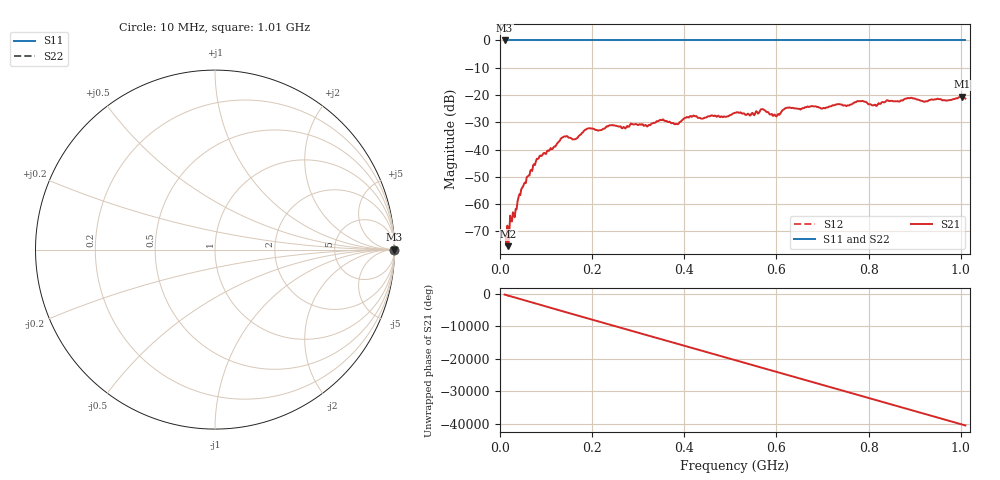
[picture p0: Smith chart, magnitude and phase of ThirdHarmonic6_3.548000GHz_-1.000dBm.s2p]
! 8/17/2025 11:42:17 AM
! C:\ANRITSUVNA\TEMP\TEMP.S2P
! CHANNEL.1
! TR.MEASUREMENT
! RAW.DATA
! RF.CORRECTION.OFF
! AVERAGING.OFF
! IF.BANDWIDTH: 5KHZ
! SWEEPTYPE:  FREQ.SWEEP(Linear)
! Reference Plane Port Info
! PORT:  PORT1  PORT2
! DISTANCE:  0  m  0  m
! TIME:  0  s  0  s
! PHASE.OFFSET:  0  deg.  0  deg.
! LOSS:  0  dB  0  dB
! REF.LOSS:  0  dB  0  dB
! REF.FREQ:  0  Hz  0  Hz
! Power Info
! POWER:  -20  dBm  -20  dBm
! EFF.POWER:  -20  dBm  -20  dBm
! SOURCE.ATTEN:  0  dB  0  dB
! TEST.ATTEN:  0  dB  0  dB
# GHZ S RI R 50.0
! FREQ.GHZ  S11RE  S11IM  S21RE  S21IM  S12RE  S12IM  S22RE  S22IM
!; PortSelection: Port_12
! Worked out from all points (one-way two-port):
!   501 points, 10 MHz to 1.01 GHz, reference 50 ohm
!   highest |S21| = -20.59 dB at 1.002 GHz (marker M1); lowest = -75.4 dB at 18 MHz (marker M2)
!   lowest |S11| = 0.0 dB at 10 MHz (marker M3)
!   |S11| at or under -10 dB: nowhere
!   |S22| runs from 0.0 to 0.0 dB; largest |S21 - S12| = 1.1
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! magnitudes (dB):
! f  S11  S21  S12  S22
! 10 MHz  0.0  -71.4  0.0  0.0
! 18 MHz  0.0  -75.4  0.0  0.0
! 26 MHz  0.0  -66.3  0.0  0.0
! 34 MHz  0.0  -61.8  0.0  0.0
! 44 MHz  0.0  -56.7  0.0  0.0
! 82 MHz  0.0  -43.4  0.0  0.0
! 136 MHz  0.0  -35.6  0.0  0.0
! 162 MHz  0.0  -36.2  0.0  0.0
! 178 MHz  0.0  -33.9  0.0  0.0
! 344 MHz  0.0  -29.6  0.0  0.0
! 382 MHz  0.0  -30.6  0.0  0.0
! 416 MHz  0.0  -28.0  0.0  0.0
! 510 MHz  0.0  -26.5  0.0  0.0
! 570 MHz  0.0  -25.2  0.0  0.0
! 596 MHz  0.0  -27.1  0.0  0.0
! 624 MHz  0.0  -24.6  0.0  0.0
! 678 MHz  0.0  -24.1  0.0  0.0
! 784 MHz  0.0  -22.3  0.0  0.0
! 814 MHz  0.0  -23.6  0.0  0.0
! 844 MHz  0.0  -22.2  0.0  0.0
! 1.002 GHz  0.0  -20.6  0.0  0.0
! 1.01 GHz  0.0  -21.3  0.0  0.0
